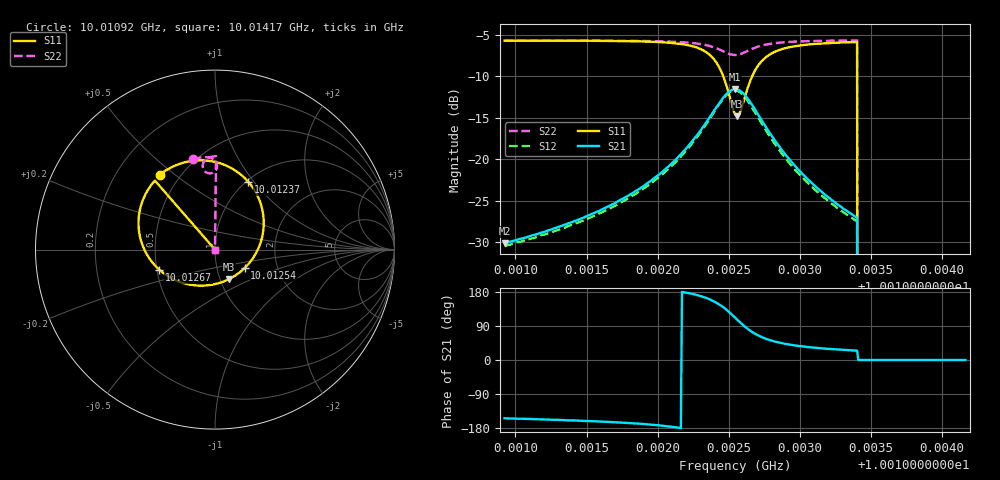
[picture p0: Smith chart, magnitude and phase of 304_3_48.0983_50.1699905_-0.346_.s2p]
#  HZ  S  RI  R  50.00
! Rohde & Schwarz Vector Network Analyzer
! Rohde-Schwarz,ZNB20-2Port,1311601062101988,3.16
! Created: UTC 12/23/2023, 4:05:06 AM
! freq[Hz]  re:S11  im:S11  re:S21  im:S21  re:S12  im:S12  re:S22  im:S22
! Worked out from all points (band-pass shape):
!   401 points, 10.01092 GHz to 10.01417 GHz, reference 50 ohm
!   highest |S21| = -11.54 dB at 10.01254 GHz (marker M1); lowest = -30.1 dB at 10.01092 GHz (marker M2)
!   |S21| within 3 dB of the highest: 10.01238 GHz to 10.01271 GHz (323.5 kHz wide, 0.00323 % of centre)
!   lowest |S11| = -14.8 dB at 10.01256 GHz (marker M3), VSWR 1.45, Z = 55.3 - j18.7 ohm
!   |S11| at or under -10 dB: 10.01246 GHz to 10.01266 GHz (202.9 kHz wide, 0.00203 % of centre); 10.0134 GHz to end of sweep
!   |S22| runs from - to -5.7 dB; largest |S21 - S12| = 0.012
!   S11 on the Smith chart (normalised r, x): 10.01092 GHz: 0.39, +0.44; 10.01237 GHz: 1.02, +0.94; 10.01254 GHz: 1.36, -0.29; 10.01267 GHz: 0.52, -0.13; 10.01417 GHz: 1.00, +0.00
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1.0010924e10  -0.3075 0.4184  -0.028 -0.0138  -0.0262 -0.0146  -0.1237 0.5049
1.0011467e10  -0.2486 0.4554  -0.0416 -0.0147  -0.0391 -0.0164  -0.0853 0.5127
1.0011783e10  -0.1914 0.4794  -0.0579 -0.0144  -0.055 -0.0169  -0.06 0.5148
1.001201e10  -0.1202 0.4952  -0.0803 -0.0107  -0.0767 -0.0148  -0.0382 0.5139
1.0012245e10  0.0303 0.4802  -0.1282 0.0122  -0.1249 0.00439  -0.00885 0.5029
1.0012318e10  0.111 0.442  -0.1516 0.0354  -0.1497 0.0252  0.00214 0.4931
1.0012374e10  0.1855 0.3775  -0.171 0.0663  -0.1708 0.0557  0.00933 0.48
1.0012423e10  0.2458 0.2798  -0.1814 0.1089  -0.1843 0.0979  0.0119 0.4639
1.0012472e10  0.2711 0.1304  -0.1751 0.1653  -0.1798 0.1553  0.00633 0.4443
1.0012504e10  0.2427 0.00878  -0.1514 0.207  -0.157 0.1983  -0.00478 0.4325
1.0012536e10  0.1656 -0.1027  -0.1108 0.2401  -0.1171 0.2324  -0.0211 0.4253
1.0012545e10  0.1399 -0.1253  -0.099 0.2455  -0.1053 0.2383  -0.0256 0.4248
1.0012561e10  0.0794 -0.1638  -0.0728 0.2536  -0.0792 0.2464  -0.0347 0.4252
1.0012609e10  -0.1157 -0.199  0.00152 0.2468  -0.00327 0.2396  -0.0574 0.4373
1.0012674e10  -0.3093 -0.1131  0.0653 0.1963  0.0578 0.1902  -0.0687 0.4623
1.0012747e10  -0.4022 0.0205  0.0865 0.1392  0.0788 0.1352  -0.0649 0.4847
1.0012852e10  -0.4262 0.1599  0.0835 0.0871  0.0763 0.0855  -0.0512 0.5023
1.0013087e10  -0.3879 0.3078  0.0599 0.0391  0.0552 0.0397  -0.0232 0.5163
1.0013387e10  -0.3371 0.3819  0.0411 0.0191  0.0381 0.02  0.00439 0.521
1.0013428e10  0 0  0 0  0 0  0 0
1.001363e10  0 0  0 0  0 0  0 0
1.0014165e10  0 0  0 0  0 0  0 0
